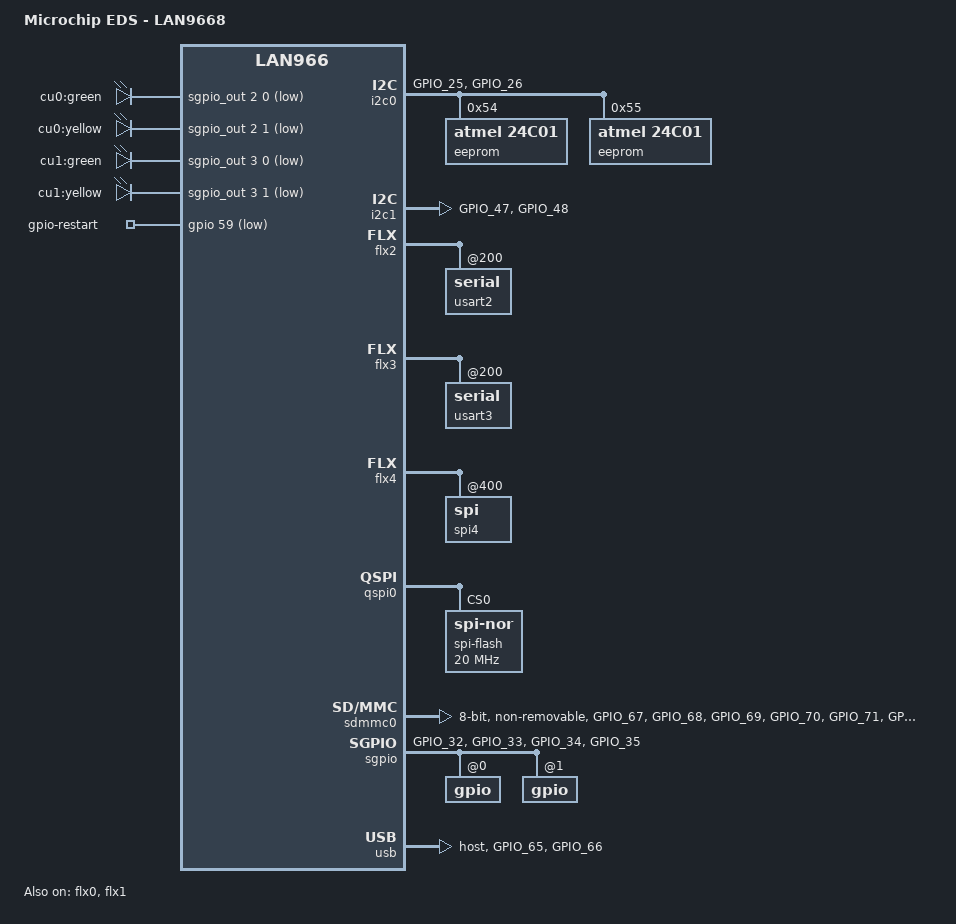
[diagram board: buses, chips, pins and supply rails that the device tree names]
// SPDX-License-Identifier: (GPL-2.0+ OR MIT)
/*
 * lan966x-pcb8385.dts - Device Tree file for LAN966X-PCB8385 board
 *
 * Copyright (C) 2022 Microchip Technology Inc. and its subsidiaries
 *
 * Author: Horatiu Vultur <horatiu.vultur@microchip.com>
 * Author: Jerry Ray <jerry.ray@microchip.com>
 */
/dts-v1/;

#include "lan966x.dtsi"
#include "dt-bindings/phy/phy-lan966x-serdes.h"

/ {
	model = "Microchip EDS - LAN9668";
	compatible = "microchip,lan9668-pcb8385", "microchip,lan9668", "microchip,lan966";

	chosen {
		stdout-path = "serial0:115200n8";
	};

	aliases {
		serial0 = &usart3;
		serial1 = &usart2;
	};

	leds {
		compatible = "gpio-leds";

		led-p1-green {
			label = "cu0:green";
			gpios = <&sgpio_out 2 0 GPIO_ACTIVE_LOW>;
			default-state = "off";
			linux,default-trigger = "e200413c.mdio-mii:01:link";
		};

		led-p1-yellow {
			label = "cu0:yellow";
			gpios = <&sgpio_out 2 1 GPIO_ACTIVE_LOW>;
			default-state = "off";
		};

		led-p2-green {
			label = "cu1:green";
			gpios = <&sgpio_out 3 0 GPIO_ACTIVE_LOW>;
			default-state = "off";
			linux,default-trigger = "e200413c.mdio-mii:02:link";
		};

		led-p2-yellow {
			label = "cu1:yellow";
			gpios = <&sgpio_out 3 1 GPIO_ACTIVE_LOW>;
			default-state = "off";
		};
	};

	gpio-restart {
		compatible = "gpio-restart";
		gpios = <&gpio 59 GPIO_ACTIVE_LOW>;
		open-source;
		priority = <200>;
	};
};

&aes {
	status = "disabled"; /* Reserved by secure OS */
};

&gpio {
	emmc_sd_pins: emmc-sd-pins {
		/* eMMC_SD - CMD, CLK, D0, D1, D2, D3, RSTN */
		pins = "GPIO_67", "GPIO_68", "GPIO_69", "GPIO_70",
			"GPIO_71", "GPIO_72", "GPIO_77";
		function = "emmc_sd";
	};

	emmc_pins: emmc-pins {
		/* eMMC - D4, D5, D6, D7 */
		pins = "GPIO_73", "GPIO_74", "GPIO_75", "GPIO_76";
		function = "emmc";
	};

	fc0_b_pins: fc0-b-pins {
		/* SCL, SDA */
		pins = "GPIO_25", "GPIO_26";
		function = "fc0_b";
	};

	fc1_c_pins: fc1-c-pins {
		/* SCL, SDA */
		pins = "GPIO_47", "GPIO_48";
		function = "fc1_c";
	};

	fc2_b_pins: fc2-b-pins {
		/* RX, TX */
		pins = "GPIO_44", "GPIO_45";
		function = "fc2_b";
	};

	fc3_b_pins: fc3-b-pins {
		/* RX, TX */
		pins = "GPIO_52", "GPIO_53";
		function = "fc3_b";
	};

	fc4_b_pins: fc4-b-pins {
		/* SCK, MISO, MOSI */
		pins = "GPIO_56", "GPIO_57", "GPIO_58";
		function = "fc4_b";
	};

	fc_shrd13_pins: fc-shrd13-pins {
		pins = "GPIO_62";
		function = "fc_shrd13";
	};

	sgpio_a_pins: sgpio-a-pins {
		/* SCK, D0, D1, LD */
		pins = "GPIO_32", "GPIO_33", "GPIO_34", "GPIO_35";
		function = "sgpio_a";
	};

	usb_host_a_pins: usb_host_a_pins {
		pins = "GPIO_65", "GPIO_66";
		function = "usb_host_a";
	};
};

&flx0 {
	atmel,flexcom-mode = <ATMEL_FLEXCOM_MODE_TWI>;
	status = "okay";

	i2c0: i2c@600 {
		pinctrl-0 = <&fc0_b_pins>;
		pinctrl-names = "default";
		dmas = <0>, <0>;
		i2c-analog-filter;
		i2c-digital-filter;
		i2c-digital-filter-width-ns = <35>;
		i2c-sda-hold-time-ns = <1500>;
		status = "okay";
	};
};

&flx1 {
	atmel,flexcom-mode = <ATMEL_FLEXCOM_MODE_TWI>;
	status = "okay";

	i2c1: i2c@600 {
		pinctrl-0 = <&fc1_c_pins>;
		pinctrl-names = "default";
		dmas = <0>, <0>;
		i2c-analog-filter;
		i2c-digital-filter;
		i2c-digital-filter-width-ns = <35>;
		i2c-sda-hold-time-ns = <1500>;
		status = "okay";
	};
};

&flx2 {
	atmel,flexcom-mode = <ATMEL_FLEXCOM_MODE_USART>;
	status = "okay";

	usart2: serial@200 {
		pinctrl-0 = <&fc2_b_pins>;
		pinctrl-names = "default";
		status = "okay";
	};
};

&flx3 {
	atmel,flexcom-mode = <ATMEL_FLEXCOM_MODE_USART>;
	status = "okay";

	usart3: serial@200 {
		pinctrl-0 = <&fc3_b_pins>;
		pinctrl-names = "default";
		status = "okay";
	};
};

&flx4 {
	atmel,flexcom-mode = <ATMEL_FLEXCOM_MODE_SPI>;
	status = "okay";

	spi4: spi@400 {
		clock-names = "spi_clk";
		pinctrl-0 = <&fc4_b_pins>, <&fc_shrd13_pins>;
		pinctrl-names = "default";
		cs-gpios = <&gpio 62 GPIO_ACTIVE_LOW>;
		dmas = <0>, <0>;
		status = "okay";
	};
};

&i2c0 {
	eeprom@54 {
		compatible = "atmel,24c01";
		reg = <0x54>;
		status = "okay";
	};

	eeprom@55 {
		compatible = "atmel,24c01";
		reg = <0x55>;
		status = "okay";
	};

	/* UCS2113 at 0x57 */
};

&qspi0 {
	status = "okay";

	spi-flash@0 {
		compatible = "jedec,spi-nor";
		reg = <0>;
		spi-max-frequency = <20000000>;
		#address-cells = <1>;
		#size-cells = <1>;
		spi-tx-bus-width = <4>;
		spi-rx-bus-width = <4>;
		m25p,fast-read;
	};
};

&sdmmc0 {
	bus-width = <8>;
	cap-mmc-highspeed;
	cap-mmc-hw-reset;
	non-removable;
	pinctrl-0 = <&emmc_sd_pins>, <&emmc_pins>;
	pinctrl-names = "default";
	no-1-8-v;
	mmc-ddr-3_3v;
	tx-phase = <0>; /* 180 degrees phase shift */
	status = "okay";
};

&sgpio {
	pinctrl-0 = <&sgpio_a_pins>;
	pinctrl-names = "default";
	microchip,sgpio-port-ranges = <0 3>;
	status = "okay";

	gpio@0 {
		ngpios = <64>;
	};
	gpio@1 {
		ngpios = <64>;
	};
};

&spi4 {
	spidev: spidev@0 {
		compatible = "linux,spidev";
		reg = <0>;
		spi-max-frequency = <2000000>;
		status = "okay";
	};
};

&usb {
	dr_mode = "host";
	pinctrl-0 = <&usb_host_a_pins>;
	pinctrl-names = "default";
	status = "okay";
};
